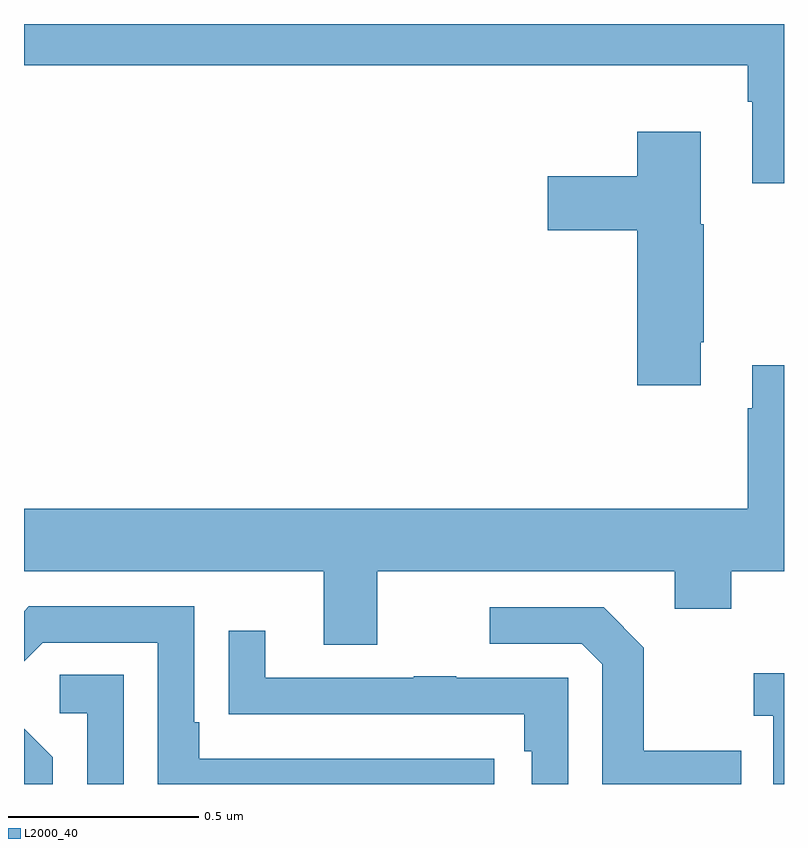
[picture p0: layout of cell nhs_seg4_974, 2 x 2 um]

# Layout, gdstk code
import gdstk
lib = gdstk.Library(unit=1e-6, precision=1e-09)
def P(c, l, *ps):  # polygons
    for p in ps: c.add(gdstk.Polygon(p, *l))
L2000_40 = (2000, 40)

nhs_seg4_974 = lib.new_cell('nhs_seg4_974')
P(nhs_seg4_974, L2000_40, [(124,824.9),(122,824.9),(122,824.792),(123.905,824.792),(123.905,824.696),(123.917,824.696),(123.917,824.481),(124,824.481)],
  [(123.781,824.062),(123.789,824.062),(123.789,824.373),(123.781,824.373),(123.781,824.617),(123.614,824.617),(123.614,824.499),(123.378,824.499),(123.378,824.357),(123.614,824.357),(123.614,823.95),(123.781,823.95)],
  [(122.929,823.46),(123.713,823.46),(123.713,823.361),(123.861,823.361),(123.861,823.46),(124,823.46),(124,824.002),(123.917,824.002),(123.917,823.889),(123.905,823.889),(123.905,823.624),(122,823.624),(122,823.46),(122.789,823.46),(122.789,823.266),(122.929,823.266)],
  [(123.238,822.966),(122.461,822.966),(122.461,823.063),(122.448,823.063),(122.448,823.368),(122.013,823.368),(122,823.355),(122,823.223),(122.049,823.272),(122.352,823.272),(122.352,822.9),(123.238,822.9)],
  [(123.887,822.987),(123.631,822.987),(123.631,823.259),(123.525,823.365),(123.225,823.365),(123.225,823.269),(123.468,823.269),(123.522,823.215),(123.522,822.9),(123.887,822.9)],
  [(123.432,823.179),(123.137,823.179),(123.137,823.184),(123.025,823.184),(123.025,823.179),(122.635,823.179),(122.635,823.303),(122.539,823.303),(122.539,823.084),(122.641,823.084),(122.641,823.083),(123.316,823.083),(123.316,822.986),(123.336,822.986),(123.336,822.9),(123.432,822.9)],
  [(124,823.192),(123.921,823.192),(123.921,823.079),(123.972,823.079),(123.972,822.9),(124,822.9)],
  [(122.262,823.187),(122.094,823.187),(122.094,823.086),(122.166,823.086),(122.166,822.9),(122.262,822.9)],
  [(122.076,822.97),(122,823.046),(122,822.9),(122.076,822.9)])

lib.write_gds('nhs_seg4_974.gds')
